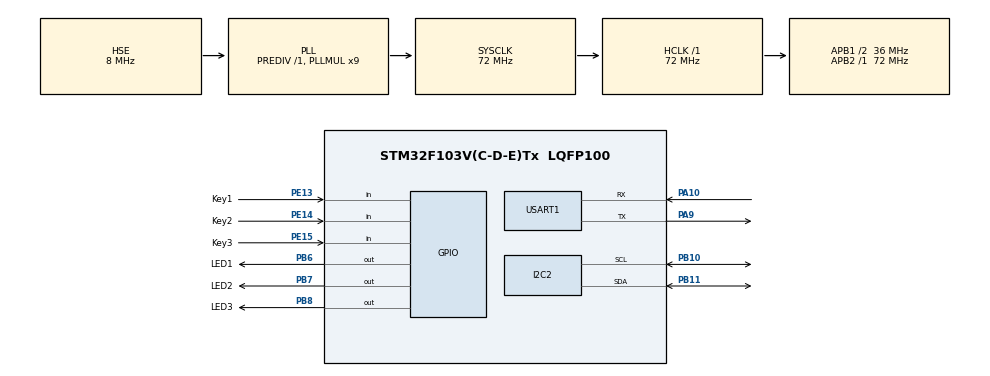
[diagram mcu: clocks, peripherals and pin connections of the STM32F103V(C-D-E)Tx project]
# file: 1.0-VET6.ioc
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Dma.I2C2_TX.0.Direction=DMA_MEMORY_TO_PERIPH
Dma.I2C2_TX.0.Instance=DMA1_Channel4
Dma.I2C2_TX.0.MemDataAlignment=DMA_MDATAALIGN_BYTE
Dma.I2C2_TX.0.MemInc=DMA_MINC_ENABLE
Dma.I2C2_TX.0.Mode=DMA_NORMAL
Dma.I2C2_TX.0.PeriphDataAlignment=DMA_PDATAALIGN_BYTE
Dma.I2C2_TX.0.PeriphInc=DMA_PINC_DISABLE
Dma.I2C2_TX.0.Priority=DMA_PRIORITY_MEDIUM
Dma.Request0=I2C2_TX
I2C2.DutyCycle=I2C_DUTYCYCLE_2
I2C2.I2C_Mode=I2C_Fast
Mcu.Family=STM32F1
Mcu.Name=STM32F103V(C-D-E)Tx
Mcu.Package=LQFP100
NVIC.DMA1_Channel4_IRQn=true\:0\:0\:true\:false\:true\:false\:true\:true
NVIC.I2C2_ER_IRQn=true\:0\:0\:false\:false\:true\:true\:true\:true
NVIC.I2C2_EV_IRQn=true\:0\:0\:false\:false\:true\:true\:true\:true
NVIC.PriorityGroup=NVIC_PRIORITYGROUP_4
NVIC.TIM2_IRQn=true\:0\:0\:false\:false\:true\:true\:true\:true
OSC_IN.Mode=HSE-External-Oscillator
OSC_IN.Signal=RCC_OSC_IN
OSC_OUT.Mode=HSE-External-Oscillator
OSC_OUT.Signal=RCC_OSC_OUT
PA10.Mode=Asynchronous
PA10.Signal=USART1_RX
PA13.Mode=Serial_Wire
PA13.Signal=SYS_JTMS-SWDIO
PA14.Mode=Serial_Wire
PA14.Signal=SYS_JTCK-SWCLK
PA9.Mode=Asynchronous
PA9.Signal=USART1_TX
PB10.Mode=I2C
PB10.Signal=I2C2_SCL
PB11.Mode=I2C
PB11.Signal=I2C2_SDA
PB6.GPIO_Label=LED1
PB6.GPIO_Speed=GPIO_SPEED_FREQ_HIGH
PB6.Signal=GPIO_Output
PB7.GPIO_Label=LED2
PB7.GPIO_Speed=GPIO_SPEED_FREQ_HIGH
PB7.Signal=GPIO_Output
PB8.GPIO_Label=LED3
PB8.GPIO_Speed=GPIO_SPEED_FREQ_HIGH
PB8.Signal=GPIO_Output
PC14-OSC32_IN.Mode=LSE-External-Oscillator
PC14-OSC32_IN.Signal=RCC_OSC32_IN
PC15-OSC32_OUT.Mode=LSE-External-Oscillator
PC15-OSC32_OUT.Signal=RCC_OSC32_OUT
PE13.GPIO_Label=Key1
PE13.GPIO_PuPd=GPIO_PULLUP
PE13.Signal=GPIO_Input
PE14.GPIO_Label=Key2
PE14.GPIO_PuPd=GPIO_PULLUP
PE14.Signal=GPIO_Input
PE15.GPIO_Label=Key3
PE15.GPIO_PuPd=GPIO_PULLUP
PE15.Signal=GPIO_Input
ProjectManager.HeapSize=0x200
ProjectManager.StackSize=0x400
ProjectManager.TargetToolchain=MDK-ARM V5.32
RCC.AHBFreq_Value=72000000
RCC.APB1CLKDivider=RCC_HCLK_DIV2
RCC.APB1Freq_Value=36000000
RCC.APB1TimFreq_Value=72000000
RCC.APB2Freq_Value=72000000
RCC.APB2TimFreq_Value=72000000
RCC.HCLKFreq_Value=72000000
RCC.PLLMUL=RCC_PLL_MUL9
RCC.PLLSourceVirtual=RCC_PLLSOURCE_HSE
RCC.SYSCLKFreq_VALUE=72000000
RCC.SYSCLKSource=RCC_SYSCLKSOURCE_PLLCLK
RCC.USBFreq_Value=72000000
TIM2.Period=1000-1
TIM2.Prescaler=72-1
USART1.VirtualMode=VM_ASYNC
VP_TIM2_VS_ClockSourceINT.Mode=Internal
board=custom

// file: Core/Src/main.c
/* USER CODE BEGIN Header */
/**
 ******************************************************************************
 * @file           : main.c
 * @brief          : Main program body
 ******************************************************************************
 * @attention
 *
 * Copyright (c) 2026 STMicroelectronics.
 * All rights reserved.
 *
 * This software is licensed under terms that can be found in the LICENSE file
 * in the root directory of this software component.
 * If no LICENSE file comes with this software, it is provided AS-IS.
 *
 ******************************************************************************
 */
/* USER CODE END Header */
#include "main.h"
#include "dma.h"
#include "i2c.h"
#include "tim.h"
#include "usart.h"
#include "gpio.h"

/* USER CODE BEGIN Includes */
#include "OLED.h"
#include "math.h"
#include "KEY.h"
/* USER CODE END Includes */

void SystemClock_Config(void);

int main(void)
{

  /* USER CODE BEGIN 1 */

  uint32_t num1 = 0, num2 = 0;
  /* USER CODE END 1 */

  /* MCU Configuration--------------------------------------------------------*/

  /* Reset of all peripherals, Initializes the Flash interface and the Systick. */
  HAL_Init();

  /* Configure the system clock */
  SystemClock_Config();

  /* Initialize all configured peripherals */
  MX_GPIO_Init();
  MX_DMA_Init();
  MX_USART1_UART_Init();
  MX_I2C2_Init();
  MX_TIM2_Init();
  /* USER CODE BEGIN 2 */
  HAL_TIM_Base_Start_IT(&htim2);
  OLED_Init();
  /* USER CODE END 2 */

  /* Infinite loop */
  while (1)
  {

    /* USER CODE BEGIN 3 */

    // if (Key_Check(KEY_HOLD))
    // {
    //   num1 = 1;
    // }
    // else
    // {
    //   num1 = 0;
    // }

    // if (Key_Check(KEY_UP))
    // {
    //   num1++;
    // }
    // if (Key_Check(KEY_DOWN))
    // {
    //   num2++;
    // }

    // if (Key_Check(KEY_SINGLE))
    // {
    //   num1++;
    // }
    // if (Key_Check(KEY_DOUBLE))
    // {
    //   num1 += 100;
    // }
    // if (Key_Check(KEY_LONG))
    // {
    //   num1=0;
    // }

    // if (Key_Check(KEY_SINGLE, 0) || Key_Check(KEY_REPEAT, 0))
    // {
    //   num1--;
    // }
    // if (Key_Check(KEY_SINGLE, 1) || Key_Check(KEY_REPEAT, 1))
    // {
    //   num1++;
    // }
    // if (Key_Check(KEY_SINGLE, 2))
    // {
    //   num1 = 0;
    // }

    if (Key_Check(KEY_SINGLE, KEY3) || Key_Check(KEY_REPEAT, KEY3))
    {
      if (Key_Check(KEY_SINGLE, KEY1) || Key_Check(KEY_REPEAT, KEY1))
      {
        num1++;
      }
      if (Key_Check(KEY_SINGLE, KEY2) || Key_Check(KEY_REPEAT, KEY2))
      {
        num1--;
      }
    }

    OLED_ShowNum(8, 8, num1, 5, 6);
    OLED_ShowNum(8, 24, num2, 5, 6);
    OLED_Update();
  }
  /* USER CODE END 3 */
}

void SystemClock_Config(void)
{
  RCC_OscInitTypeDef RCC_OscInitStruct = {0};
  RCC_ClkInitTypeDef RCC_ClkInitStruct = {0};

  /** Initializes the RCC Oscillators according to the specified parameters
   * in the RCC_OscInitTypeDef structure.
   */
  RCC_OscInitStruct.OscillatorType = RCC_OSCILLATORTYPE_HSE;
  RCC_OscInitStruct.HSEState = RCC_HSE_ON;
  RCC_OscInitStruct.HSEPredivValue = RCC_HSE_PREDIV_DIV1;
  RCC_OscInitStruct.HSIState = RCC_HSI_ON;
  RCC_OscInitStruct.PLL.PLLState = RCC_PLL_ON;
  RCC_OscInitStruct.PLL.PLLSource = RCC_PLLSOURCE_HSE;
  RCC_OscInitStruct.PLL.PLLMUL = RCC_PLL_MUL9;
  if (HAL_RCC_OscConfig(&RCC_OscInitStruct) != HAL_OK)
  {
    Error_Handler();
  }

  /** Initializes the CPU, AHB and APB buses clocks
   */
  RCC_ClkInitStruct.ClockType = RCC_CLOCKTYPE_HCLK | RCC_CLOCKTYPE_SYSCLK | RCC_CLOCKTYPE_PCLK1 | RCC_CLOCKTYPE_PCLK2;
  RCC_ClkInitStruct.SYSCLKSource = RCC_SYSCLKSOURCE_PLLCLK;
  RCC_ClkInitStruct.AHBCLKDivider = RCC_SYSCLK_DIV1;
  RCC_ClkInitStruct.APB1CLKDivider = RCC_HCLK_DIV2;
  RCC_ClkInitStruct.APB2CLKDivider = RCC_HCLK_DIV1;

  if (HAL_RCC_ClockConfig(&RCC_ClkInitStruct, FLASH_LATENCY_2) != HAL_OK)
  {
    Error_Handler();
  }
}

/* USER CODE BEGIN 4 */
void HAL_TIM_PeriodElapsedCallback(TIM_HandleTypeDef *htim)
{
  if (htim->Instance == TIM2)
  {
    KEY_Tick();
  }
}
/* USER CODE END 4 */

void Error_Handler(void)
{
  __disable_irq();
  while (1)
  {
  }
}
